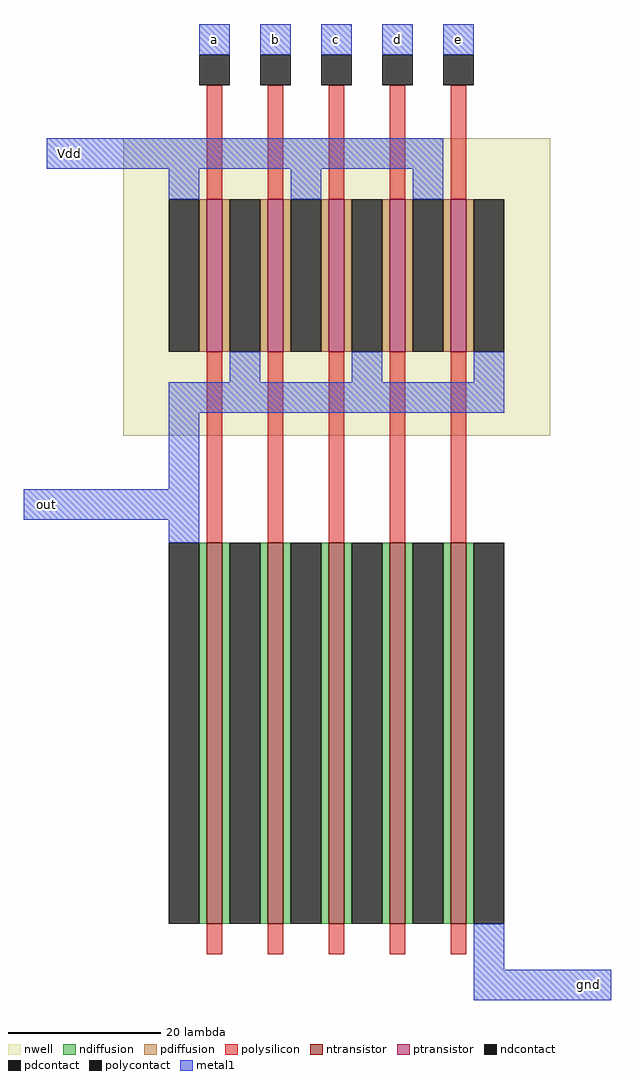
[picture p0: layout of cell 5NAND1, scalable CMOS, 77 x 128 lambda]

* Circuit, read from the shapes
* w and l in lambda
.subckt 5NAND1 Vdd a b c d e gnd out
M1 n1 a out VSUBS nfet w=50 l=2
M2 n2 b n1 VSUBS nfet w=50 l=2
M3 n3 c n2 VSUBS nfet w=50 l=2
M4 n4 d n3 VSUBS nfet w=50 l=2
M5 gnd e n4 VSUBS nfet w=50 l=2
M6 out a Vdd n5 pfet w=20 l=2
M7 Vdd b out n5 pfet w=20 l=2
M8 out c Vdd n5 pfet w=20 l=2
M9 Vdd d out n5 pfet w=20 l=2
M10 out e Vdd n5 pfet w=20 l=2
.ends

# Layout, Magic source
magic
tech scmos
<< nwell >>
rect -10 -32 46 7
<< ntransistor >>
rect 1 -96 3 -46
rect 9 -96 11 -46
rect 17 -96 19 -46
rect 25 -96 27 -46
rect 33 -96 35 -46
<< ptransistor >>
rect 1 -21 3 -1
rect 9 -21 11 -1
rect 17 -21 19 -1
rect 25 -21 27 -1
rect 33 -21 35 -1
<< ndiffusion >>
rect 0 -96 1 -46
rect 3 -96 4 -46
rect 8 -96 9 -46
rect 11 -96 12 -46
rect 16 -96 17 -46
rect 19 -96 20 -46
rect 24 -96 25 -46
rect 27 -96 28 -46
rect 32 -96 33 -46
rect 35 -96 36 -46
<< pdiffusion >>
rect 0 -21 1 -1
rect 3 -21 4 -1
rect 8 -21 9 -1
rect 11 -21 12 -1
rect 16 -21 17 -1
rect 19 -21 20 -1
rect 24 -21 25 -1
rect 27 -21 28 -1
rect 32 -21 33 -1
rect 35 -21 36 -1
<< ndcontact >>
rect -4 -96 0 -46
rect 4 -96 8 -46
rect 12 -96 16 -46
rect 20 -96 24 -46
rect 28 -96 32 -46
rect 36 -96 40 -46
<< pdcontact >>
rect -4 -21 0 -1
rect 4 -21 8 -1
rect 12 -21 16 -1
rect 20 -21 24 -1
rect 28 -21 32 -1
rect 36 -21 40 -1
<< polysilicon >>
rect 1 -1 3 14
rect 9 -1 11 14
rect 17 -1 19 14
rect 25 -1 27 14
rect 33 -1 35 14
rect 1 -46 3 -21
rect 9 -46 11 -21
rect 17 -46 19 -21
rect 25 -46 27 -21
rect 33 -46 35 -21
rect 1 -100 3 -96
rect 9 -100 11 -96
rect 17 -100 19 -96
rect 25 -100 27 -96
rect 33 -100 35 -96
<< polycontact >>
rect 0 14 4 18
rect 8 14 12 18
rect 16 14 20 18
rect 24 14 28 18
rect 32 14 36 18
<< metal1 >>
rect 0 18 4 22
rect 8 18 12 22
rect 16 18 20 22
rect 24 18 28 22
rect 32 18 36 22
rect -20 3 32 7
rect -4 -1 0 3
rect 12 -1 16 3
rect 28 -1 32 3
rect 4 -25 8 -21
rect 20 -25 24 -21
rect 36 -25 40 -21
rect -4 -29 40 -25
rect -4 -39 0 -29
rect -23 -43 0 -39
rect -4 -46 0 -43
rect 36 -102 40 -96
rect 36 -106 54 -102
<< labels >>
rlabel metal1 -20 3 -14 7 1 Vdd
rlabel metal1 0 18 4 22 5 a
rlabel metal1 8 18 12 22 5 b
rlabel metal1 16 18 20 22 5 c
rlabel metal1 24 18 28 22 5 d
rlabel metal1 32 18 36 22 5 e
rlabel metal1 -23 -43 -17 -39 3 out
rlabel metal1 48 -106 54 -102 8 gnd
<< end >>
